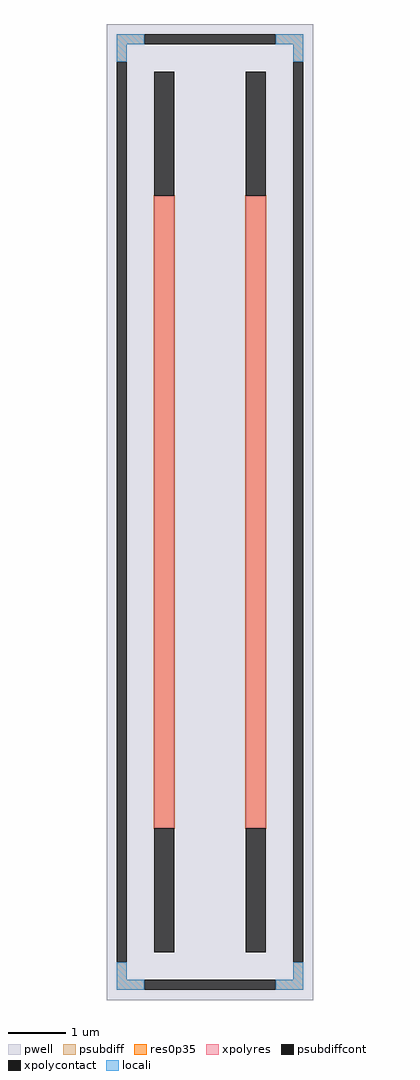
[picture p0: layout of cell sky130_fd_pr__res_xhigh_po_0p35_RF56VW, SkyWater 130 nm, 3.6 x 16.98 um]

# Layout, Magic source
magic
tech sky130A
<< pwell >>
rect -180 -849 180 849
<< psubdiff >>
rect -162 814 -114 831
rect 114 814 162 831
rect -162 783 -145 814
rect 145 783 162 814
rect -162 -814 -145 -783
rect 145 -814 162 -783
rect -162 -831 -114 -814
rect 114 -831 162 -814
<< psubdiffcont >>
rect -114 814 114 831
rect -162 -783 -145 783
rect 145 -783 162 783
rect -114 -831 114 -814
<< xpolycontact >>
rect -97 550 -62 766
rect -97 -766 -62 -550
rect 62 550 97 766
rect 62 -766 97 -550
<< xpolyres >>
rect -97 -550 -62 550
rect 62 -550 97 550
<< locali >>
rect -162 814 -114 831
rect 114 814 162 831
rect -162 783 -145 814
rect 145 783 162 814
rect -162 -814 -145 -783
rect 145 -814 162 -783
rect -162 -831 -114 -814
rect 114 -831 162 -814
<< res0p35 >>
rect -98 -551 -61 551
rect 61 -551 98 551
<< properties >>
string gencell sky130_fd_pr__res_xhigh_po_0p35
string FIXED_BBOX -153 -822 153 822
string parameters w 0.350 l 11 m 1 nx 2 wmin 0.350 lmin 0.50 rho 2000 val 63.542k dummy 0 dw 0.0 term 120 sterm 0.0 caplen 0 wmax 0.350 guard 1 glc 1 grc 1 gtc 1 gbc 1 compatible {sky130_fd_pr__res_xhigh_po_0p35  sky130_fd_pr__res_xhigh_po_0p69 sky130_fd_pr__res_xhigh_po_1p41  sky130_fd_pr__res_xhigh_po_2p85 sky130_fd_pr__res_xhigh_po_5p73} full_metal 1
string library sky130
<< end >>
